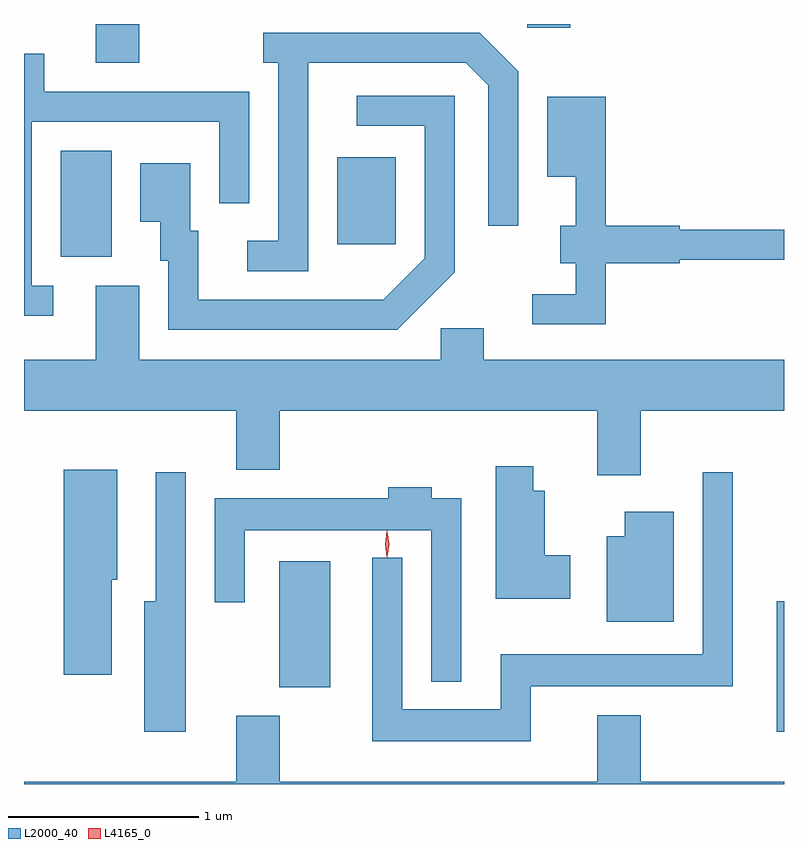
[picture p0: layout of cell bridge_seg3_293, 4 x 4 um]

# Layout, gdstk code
import gdstk
lib = gdstk.Library(unit=1e-6, precision=1e-09)
def R(c, l, rs):  # rectangles x0, y0, x1, y1
    for r in rs: c.add(gdstk.rectangle(r[:2], r[2:], *l))
def P(c, l, *ps):  # polygons
    for p in ps: c.add(gdstk.Polygon(p, *l))
L2000_40 = (2000, 40)
L4165_0 = (4165, 0)

bridge_seg3_293 = lib.new_cell('bridge_seg3_293')
R(bridge_seg3_293, L2000_40, [(581.226,1195.366,581.263,1196.054), (578.606,1195.601,578.874,1196.264), (577.456,1197.866,577.724,1198.424), (578.911,1197.931,579.219,1198.389), (577.641,1198.886,577.869,1199.091), (579.911,1199.071,580.139,1199.091)])
P(bridge_seg3_293, L2000_40, [(578.759,1198.886),(579.589,1198.886),(579.706,1198.769),(579.706,1198.028),(579.864,1198.028),(579.864,1198.842),(579.662,1199.044),(578.523,1199.044),(578.523,1198.886),(578.601,1198.886),(578.601,1197.949),(578.438,1197.949),(578.438,1197.791),(578.759,1197.791)],
  [(577.418,1197.714),(577.304,1197.714),(577.304,1198.576),(578.291,1198.576),(578.291,1198.148),(578.449,1198.148),(578.449,1198.734),(577.369,1198.734),(577.369,1198.934),(577.263,1198.934),(577.263,1197.556),(577.418,1197.556)],
  [(579.529,1197.784),(579.529,1198.714),(579.013,1198.714),(579.013,1198.556),(579.371,1198.556),(579.371,1197.857),(579.154,1197.639),(578.179,1197.639),(578.179,1198.004),(578.139,1198.004),(578.139,1198.359),(577.876,1198.359),(577.876,1198.051),(577.981,1198.051),(577.981,1197.846),(578.021,1197.846),(578.021,1197.481),(579.227,1197.481)],
  [(580.324,1197.831),(580.714,1197.831),(580.714,1197.851),(581.263,1197.851),(581.263,1198.009),(580.714,1198.009),(580.714,1198.029),(580.324,1198.029),(580.324,1198.709),(580.016,1198.709),(580.016,1198.286),(580.166,1198.286),(580.166,1198.029),(580.086,1198.029),(580.086,1197.831),(580.166,1197.831),(580.166,1197.669),(579.938,1197.669),(579.938,1197.511),(580.324,1197.511)],
  [(580.509,1197.056),(581.263,1197.056),(581.263,1197.324),(579.684,1197.324),(579.684,1197.489),(579.456,1197.489),(579.456,1197.324),(577.869,1197.324),(577.869,1197.714),(577.641,1197.714),(577.641,1197.324),(577.263,1197.324),(577.263,1197.056),(578.381,1197.056),(578.381,1196.746),(578.609,1196.746),(578.609,1197.056),(580.281,1197.056),(580.281,1196.716),(580.509,1196.716)],
  [(580.139,1196.294),(580.004,1196.294),(580.004,1196.634),(579.944,1196.634),(579.944,1196.764),(579.746,1196.764),(579.746,1196.066),(580.139,1196.066)],
  [(577.724,1196.166),(577.754,1196.166),(577.754,1196.744),(577.471,1196.744),(577.471,1195.666),(577.724,1195.666)],
  [(578.114,1196.733),(577.956,1196.733),(577.956,1196.054),(577.896,1196.054),(577.896,1195.366),(578.114,1195.366)],
  [(579.929,1195.606),(580.994,1195.606),(580.994,1196.733),(580.836,1196.733),(580.836,1195.774),(579.771,1195.774),(579.771,1195.484),(579.254,1195.484),(579.254,1196.283),(579.096,1196.283),(579.096,1195.316),(579.929,1195.316)],
  [(579.564,1196.594),(579.409,1196.594),(579.409,1196.654),(579.181,1196.654),(579.181,1196.594),(578.266,1196.594),(578.266,1196.048),(578.424,1196.048),(578.424,1196.426),(579.406,1196.426),(579.406,1195.628),(579.564,1195.628)],
  [(580.684,1196.524),(580.426,1196.524),(580.426,1196.394),(580.331,1196.394),(580.331,1195.946),(580.684,1195.946)],
  [(581.263,1195.104),(580.509,1195.104),(580.509,1195.454),(580.281,1195.454),(580.281,1195.104),(578.609,1195.104),(578.609,1195.449),(578.381,1195.449),(578.381,1195.104),(577.263,1195.104),(577.263,1195.091),(581.263,1195.091)])
P(bridge_seg3_293, L4165_0, [(579.174,1196.284),(579.165,1196.353),(579.174,1196.422),(579.175,1196.423),(579.176,1196.422),(579.185,1196.353),(579.176,1196.284),(579.175,1196.284)],
  [(579.174,1196.287),(579.173,1196.288),(579.164,1196.354),(579.173,1196.42),(579.174,1196.42),(579.174,1196.42),(579.184,1196.354),(579.174,1196.288)])

lib.write_gds('bridge_seg3_293.gds')
